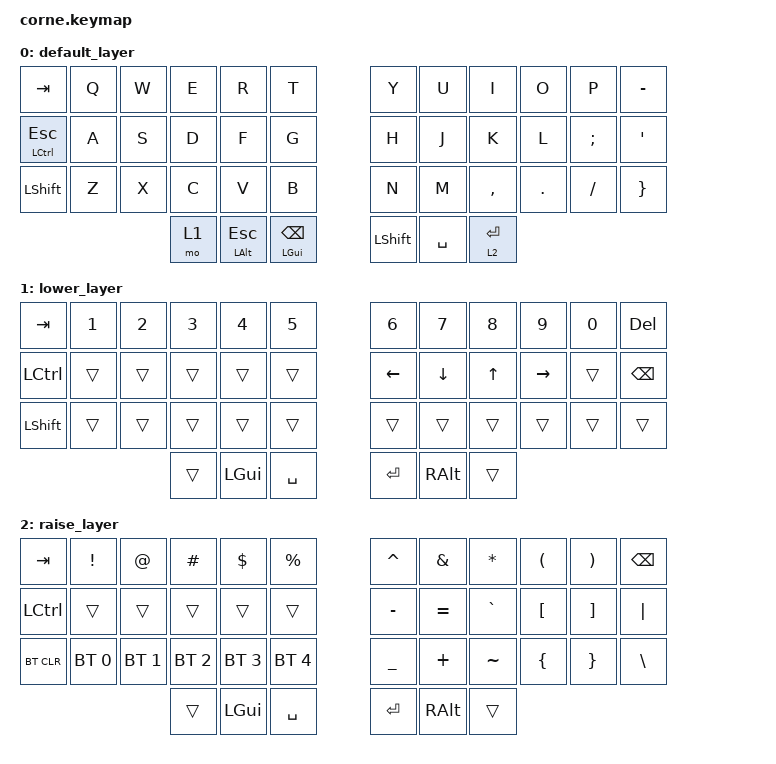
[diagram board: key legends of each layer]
/*
 * Copyright (c) 2020 The ZMK Contributors
 *
 * SPDX-License-Identifier: MIT
 */

#include <behaviors.dtsi>
#include <dt-bindings/zmk/keys.h>
#include <dt-bindings/zmk/bt.h>

/ {
    behaviors {
        tp: tap_preferred {
            compatible = "zmk,behavior-hold-tap";
            label = "TAP_PREFERRED";
            #binding-cells = <2>;
            tapping-term-ms = <150>;
            quick-tap-ms = <0>;
            flavor = "tap-preferred";
            bindings = <&kp>, <&kp>;
        };
        bhm: balanced_homerow_mods {
            compatible = "zmk,behavior-hold-tap";
            #binding-cells = <2>;
            tapping-term-ms = <200>;    // <---[[moderate duration]]
            quick-tap-ms = <0>;
            flavor = "balanced";
            bindings = <&kp>, <&kp>;
        };
        pht: positional_hold_tap {
            compatible = "zmk,behavior-hold-tap";
            #binding-cells = <2>;
            flavor = "hold-preferred";
            tapping-term-ms = <400>;
            quick-tap-ms = <200>;
            bindings = <&kp>, <&kp>;
            hold-trigger-key-positions = <1>;    // <---[[the W key]]
        };
        lt_impl: layer-tap-by-hold-tap {
            compatible = "zmk,behavior-hold-tap";
            label = "LAYER_TAP_BY_HOLD_TAP";
            #binding-cells = <2>;
            tapping-term-ms = <150>;
            quick-tap-ms = <0>;
            flavor = "tap-preferred";
            bindings = <&mo>, <&kp>;
        };
    };

        keymap {
                compatible = "zmk,keymap";

                default_layer {
// ----------------------------------------------------------------------------------------------
// |  TAB     |  Q  |  W  |  E  |  R      |  T       |   |  Y        |  U   |  I  |  O  |  P  |  -  |
// | ESC/CTRL |  A  |  S  |  D  |  F      |  G       |   |  H        |  J   |  K  |  L  |  ;  |  '  |
// | SHFT     |  Z  |  X  |  C  |  V      |  B       |   |  N        |  M   |  ,  |  .  |  /  |  }  |
//                        | LWR | ESC/ALT | BSPC/GUI |   | SHFT | SPC  | ENT/RSE |
                        bindings = <
   &kp TAB       &kp Q &kp W &kp E &kp R &kp T    &kp Y &kp U  &kp I     &kp O   &kp P    &kp MINUS
   &tp LCTRL ESC &kp A &kp S &kp D &kp F &kp G    &kp H &kp J  &kp K     &kp L   &kp SEMI &kp SQT
   &kp LSHFT     &kp Z &kp X &kp C &kp V &kp B    &kp N &kp M  &kp COMMA &kp DOT &kp FSLH &kp RBRC
            &mo 1  &tp LALT ESC  &tp LGUI BSPC     &kp LSHFT  &kp SPACE  &lt 2 RET
                        >;
                };
                lower_layer {
// -----------------------------------------------------------------------------------------
// |  TAB |  1  |  2  |  3  |  4  |  5  |   |  6  |  7  |  8  |  9  |  0  | DEL  |
// | CTRL |     |     |     |     |     |   | LFT | DWN |  UP | RGT |     | BSPC |
// | SHFT |     |     |     |     |     |   |     |     |     |     |     |      |
//                    |     | GUI | SPC |   | ENT | ALT |     |
                        bindings = <
   &kp TAB   &kp N1 &kp N2 &kp N3 &kp N4 &kp N5    &kp N6   &kp N7   &kp N8 &kp N9    &kp N0 &kp DEL
   &kp LCTRL &trans &trans &trans &trans &trans    &kp LEFT &kp DOWN &kp UP &kp RIGHT &trans &kp BSPC
   &kp LSHFT &trans &trans &trans &trans &trans    &trans   &trans   &trans &trans    &trans &trans
                    &trans  &kp LGUI  &kp SPACE    &kp RET  &kp RALT  &trans
                        >;
                };

                raise_layer {
// -----------------------------------------------------------------------------------------
// |  TAB |  !  |  @  |  #  |  $  |  %  |   |  ^  |  &  |  *  |  (  |  )  | BSPC |
// | CTRL |     |     |     |     |     |   |  -  |  =  |  `  |  [  |  ]  | "|"  |
// | BTCLR| BT1 | BT2 | BT3 | BT4 | BT5 |   |  _  |  +  |  ~  |  {  |  }  |  \   |
//                    |     | GUI | SPC |   | ENT | ALT |     |
                        bindings = <
   &kp TAB    &kp EXCL     &kp AT       &kp HASH     &kp DLLR     &kp PRCNT       &kp CARET &kp AMPS  &kp ASTRK &kp LPAR &kp RPAR &kp BSPC
   &kp LCTRL  &trans       &trans       &trans       &trans       &trans          &kp MINUS &kp EQUAL &kp GRAVE &kp LBKT &kp RBKT &kp PIPE
   &bt BT_CLR &bt BT_SEL 0 &bt BT_SEL 1 &bt BT_SEL 2 &bt BT_SEL 3 &bt BT_SEL 4    &kp UNDER &kp PLUS  &kp TILDE &kp LBRC &kp RBRC &kp BSLH
                                                &trans  &kp LGUI  &kp SPACE       &kp RET  &kp RALT  &trans
                        >;
                };
        };
};
